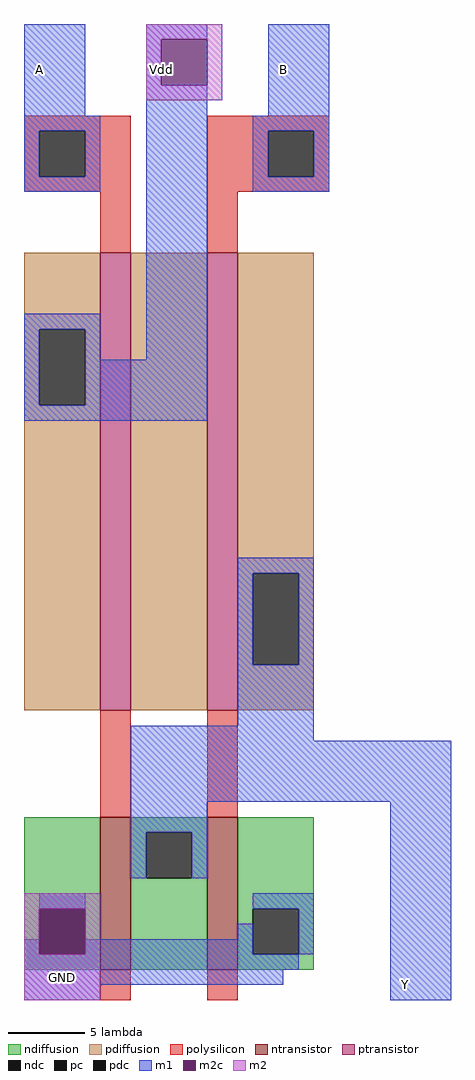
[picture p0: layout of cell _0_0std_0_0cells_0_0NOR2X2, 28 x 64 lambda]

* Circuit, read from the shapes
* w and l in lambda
.subckt _0_0std_0_0cells_0_0NOR2X2 Y B Vdd A
M1 Y A GND VSUBS nfet w=10 l=2
M2 GND B Y VSUBS nfet w=10 l=2
M3 n1 A Vdd NWELL pfet w=30 l=2
M4 Y B n1 NWELL pfet w=30 l=2
.ends

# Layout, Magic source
magic
tech sky130l
<< ndiffusion >>
rect 8 10 13 16
rect 8 7 9 10
rect 12 7 13 10
rect 8 6 13 7
rect 15 15 20 16
rect 15 12 16 15
rect 19 12 20 15
rect 15 6 20 12
rect 22 10 27 16
rect 22 7 23 10
rect 26 7 27 10
rect 22 6 27 7
<< ndc >>
rect 9 7 12 10
rect 16 12 19 15
rect 23 7 26 10
<< ntransistor >>
rect 13 6 15 16
rect 20 6 22 16
<< pdiffusion >>
rect 8 48 13 53
rect 8 43 9 48
rect 12 43 13 48
rect 8 23 13 43
rect 15 23 20 53
rect 22 32 27 53
rect 22 26 23 32
rect 26 26 27 32
rect 22 23 27 26
<< pdc >>
rect 9 43 12 48
rect 23 26 26 32
<< ptransistor >>
rect 13 23 15 53
rect 20 23 22 53
<< polysilicon >>
rect 8 61 15 62
rect 8 58 9 61
rect 12 58 15 61
rect 8 57 15 58
rect 13 53 15 57
rect 20 61 28 62
rect 20 58 24 61
rect 27 58 28 61
rect 20 57 28 58
rect 20 53 22 57
rect 13 16 15 23
rect 20 16 22 23
rect 13 4 15 6
rect 20 4 22 6
<< pc >>
rect 9 58 12 61
rect 24 58 27 61
<< m1 >>
rect 8 62 12 68
rect 16 67 20 68
rect 16 64 17 67
rect 8 61 13 62
rect 8 58 9 61
rect 12 58 13 61
rect 8 57 13 58
rect 8 48 13 49
rect 8 43 9 48
rect 12 46 13 48
rect 16 46 20 64
rect 24 62 28 68
rect 23 61 28 62
rect 23 58 24 61
rect 27 58 28 61
rect 23 57 28 58
rect 12 43 20 46
rect 8 42 20 43
rect 22 32 27 33
rect 22 26 23 32
rect 26 26 27 32
rect 22 22 27 26
rect 15 21 27 22
rect 15 17 36 21
rect 15 15 20 17
rect 15 12 16 15
rect 19 12 20 15
rect 9 10 12 11
rect 8 7 9 8
rect 23 10 27 11
rect 22 8 23 9
rect 12 7 23 8
rect 26 7 27 10
rect 8 6 26 7
rect 8 5 25 6
rect 8 4 13 5
rect 32 4 36 17
<< m2c >>
rect 17 64 20 67
rect 9 7 12 10
<< m2 >>
rect 16 67 21 68
rect 16 64 17 67
rect 20 64 21 67
rect 16 63 21 64
rect 8 10 13 11
rect 8 7 9 10
rect 12 7 13 10
rect 8 4 13 7
<< labels >>
rlabel m1 9 65 9 65 3 A
port 5 e
rlabel m1 25 65 25 65 3 B
port 2 e
rlabel m1 17 65 17 65 3 Vdd
port 3 e
rlabel m1 33 5 33 5 3 Y
port 1 e
rlabel m2 8 4 13 7 2 GND
<< end >>
